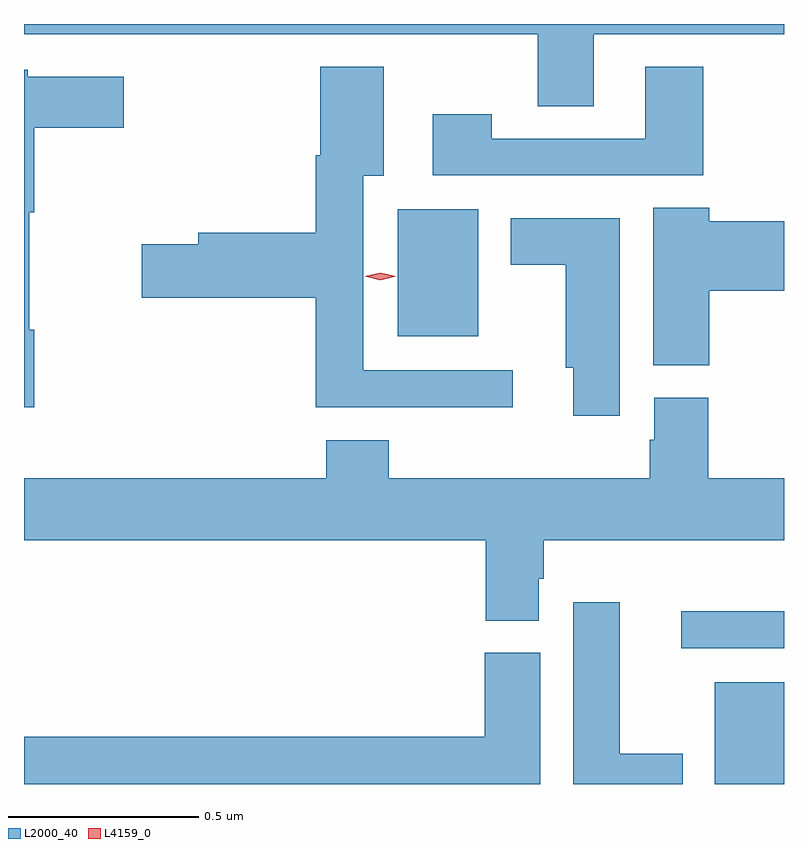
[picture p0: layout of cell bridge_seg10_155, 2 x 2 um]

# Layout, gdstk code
import gdstk
lib = gdstk.Library(unit=1e-6, precision=1e-09)
def R(c, l, rs):  # rectangles x0, y0, x1, y1
    for r in rs: c.add(gdstk.rectangle(r[:2], r[2:], *l))
def P(c, l, *ps):  # polygons
    for p in ps: c.add(gdstk.Polygon(p, *l))
L2000_40 = (2000, 40)
L4159_0 = (4159, 0)

bridge_seg10_155 = lib.new_cell('bridge_seg10_155')
R(bridge_seg10_155, L2000_40, [(303.152,1283.691,303.334,1283.959), (303.063,1284.048,303.334,1284.146), (302.318,1284.869,302.53,1285.204)])
P(bridge_seg10_155, L2000_40, [(302.833,1285.664),(303.334,1285.664),(303.334,1285.691),(301.334,1285.691),(301.334,1285.664),(302.686,1285.664),(302.686,1285.474),(302.833,1285.474)],
  [(303.122,1285.579),(302.969,1285.579),(302.969,1285.389),(302.565,1285.389),(302.565,1285.453),(302.409,1285.453),(302.409,1285.293),(303.122,1285.293)],
  [(302.62,1284.78),(302.227,1284.78),(302.227,1285.292),(302.281,1285.292),(302.281,1285.579),(302.114,1285.579),(302.114,1285.346),(302.102,1285.346),(302.102,1285.142),(301.793,1285.142),(301.793,1285.112),(301.644,1285.112),(301.644,1284.97),(302.102,1284.97),(302.102,1284.683),(302.62,1284.683)],
  [(301.361,1284.887),(301.348,1284.887),(301.348,1285.196),(301.361,1285.196),(301.361,1285.418),(301.597,1285.418),(301.597,1285.552),(301.344,1285.552),(301.344,1285.57),(301.334,1285.57),(301.334,1284.683),(301.361,1284.683)],
  [(303.137,1284.989),(303.334,1284.989),(303.334,1285.172),(303.137,1285.172),(303.137,1285.208),(302.99,1285.208),(302.99,1284.793),(303.137,1284.793)],
  [(302.902,1285.18),(302.615,1285.18),(302.615,1285.058),(302.759,1285.058),(302.759,1284.786),(302.78,1284.786),(302.78,1284.66),(302.902,1284.66)],
  [(302.689,1284.231),(302.702,1284.231),(302.702,1284.332),(303.334,1284.332),(303.334,1284.496),(303.134,1284.496),(303.134,1284.708),(302.993,1284.708),(302.993,1284.597),(302.981,1284.597),(302.981,1284.496),(302.294,1284.496),(302.294,1284.595),(302.129,1284.595),(302.129,1284.496),(301.334,1284.496),(301.334,1284.332),(302.549,1284.332),(302.549,1284.121),(302.689,1284.121)],
  [(303.067,1283.77),(302.902,1283.77),(302.902,1284.169),(302.78,1284.169),(302.78,1283.691),(303.067,1283.691)],
  [(302.692,1284.036),(302.546,1284.036),(302.546,1283.816),(301.334,1283.816),(301.334,1283.691),(302.692,1283.691)])
P(bridge_seg10_155, L4159_0, [(302.272,1285.017),(302.231,1285.027),(302.231,1285.027),(302.231,1285.027),(302.272,1285.037),(302.313,1285.027),(302.313,1285.027),(302.313,1285.027)])

lib.write_gds('bridge_seg10_155.gds')
